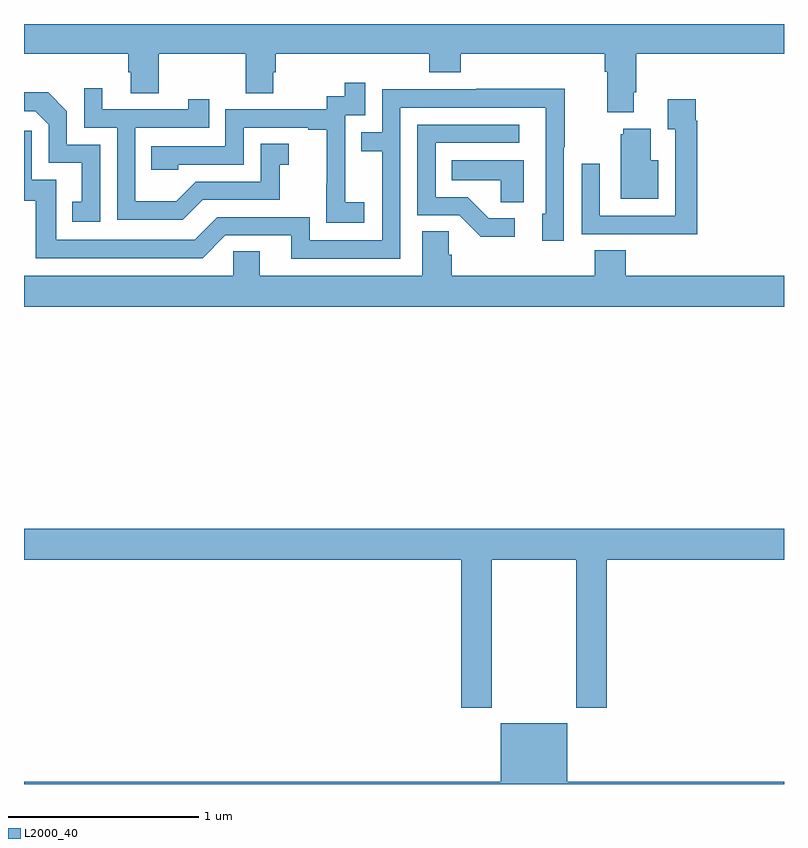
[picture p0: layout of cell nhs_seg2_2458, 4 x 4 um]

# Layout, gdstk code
import gdstk
lib = gdstk.Library(unit=1e-6, precision=1e-09)
def P(c, l, *ps):  # polygons
    for p in ps: c.add(gdstk.Polygon(p, *l))
L2000_40 = (2000, 40)

nhs_seg2_2458 = lib.new_cell('nhs_seg2_2458')
P(nhs_seg2_2458, L2000_40, [(242.209,639.442),(242.222,639.442),(242.222,639.644),(243,639.644),(243,639.8),(239,639.8),(239,639.644),(239.549,639.644),(239.549,639.546),(239.561,639.546),(239.561,639.436),(239.709,639.436),(239.709,639.644),(240.166,639.644),(240.166,639.436),(240.313,639.436),(240.313,639.546),(240.326,639.546),(240.326,639.644),(241.133,639.644),(241.133,639.545),(241.298,639.545),(241.298,639.644),(242.057,639.644),(242.057,639.548),(242.069,639.548),(242.069,639.335),(242.209,639.335)],
  [(240.79,638.863),(240.692,638.863),(240.692,639.092),(240.69,639.092),(240.69,639.321),(240.795,639.321),(240.795,639.49),(240.687,639.49),(240.687,639.42),(240.594,639.42),(240.594,639.351),(240.06,639.351),(240.06,639.156),(239.671,639.156),(239.671,639.033),(239.811,639.033),(239.811,639.06),(240.156,639.06),(240.156,639.255),(240.497,639.255),(240.497,639.243),(240.593,639.243),(240.593,638.959),(240.592,638.959),(240.592,638.753),(240.79,638.753)],
  [(239.941,638.874),(240.345,638.874),(240.345,639.059),(240.394,639.059),(240.394,639.169),(240.246,639.169),(240.246,638.97),(239.904,638.97),(239.8,638.866),(239.586,638.866),(239.586,639.255),(239.975,639.255),(239.975,639.403),(239.864,639.403),(239.864,639.351),(239.413,639.351),(239.413,639.463),(239.316,639.463),(239.316,639.255),(239.49,639.255),(239.49,638.769),(239.836,638.769)],
  [(240.981,639.36),(241.746,639.36),(241.746,638.802),(241.727,638.802),(241.727,638.658),(241.842,638.658),(241.842,639.151),(241.845,639.151),(241.845,639.458),(241.381,639.458),(241.381,639.456),(240.885,639.456),(240.885,639.231),(240.775,639.231),(240.775,639.13),(240.885,639.13),(240.885,638.661),(240.504,638.661),(240.504,638.784),(240.018,638.784),(239.898,638.664),(239.169,638.664),(239.169,638.979),(239.04,638.979),(239.04,639.238),(239,639.238),(239,638.871),(239.061,638.871),(239.061,638.568),(239.94,638.568),(240.06,638.688),(240.407,638.688),(240.407,638.565),(240.981,638.565)],
  [(239.4,639.165),(239.226,639.165),(239.226,639.342),(239.128,639.44),(239,639.44),(239,639.342),(239.058,639.342),(239.13,639.27),(239.13,639.069),(239.303,639.069),(239.303,638.865),(239.254,638.865),(239.254,638.76),(239.4,638.76)],
  [(242.543,639.29),(242.536,639.29),(242.536,639.403),(242.387,639.403),(242.387,639.247),(242.427,639.247),(242.427,638.79),(242.031,638.79),(242.031,639.064),(241.935,639.064),(241.935,638.694),(242.251,638.694),(242.251,638.693),(242.543,638.693)],
  [(241.582,638.778),(241.447,638.778),(241.336,638.889),(241.167,638.889),(241.167,639.174),(241.606,639.174),(241.606,639.27),(241.071,639.27),(241.071,638.793),(241.29,638.793),(241.403,638.681),(241.582,638.681)],
  [(242.338,639.082),(242.299,639.082),(242.299,639.25),(242.153,639.25),(242.153,639.219),(242.141,639.219),(242.141,638.879),(242.338,638.879)],
  [(241.63,639.082),(241.252,639.082),(241.252,638.978),(241.509,638.978),(241.509,638.863),(241.63,638.863)],
  [(243,638.476),(242.168,638.476),(242.168,638.609),(242.003,638.609),(242.003,638.476),(241.25,638.476),(241.25,638.585),(241.236,638.585),(241.236,638.708),(241.097,638.708),(241.097,638.476),(240.241,638.476),(240.241,638.603),(240.102,638.603),(240.102,638.476),(239,638.476),(239,638.312),(243,638.312)],
  [(241.461,636.98),(241.906,636.98),(241.906,636.201),(242.066,636.201),(242.066,636.98),(243,636.98),(243,637.144),(239,637.144),(239,636.98),(241.301,636.98),(241.301,636.201),(241.461,636.201)],
  [(243,635.812),(241.858,635.812),(241.858,636.121),(241.508,636.121),(241.508,635.812),(239,635.812),(239,635.8),(243,635.8)])

lib.write_gds('nhs_seg2_2458.gds')
